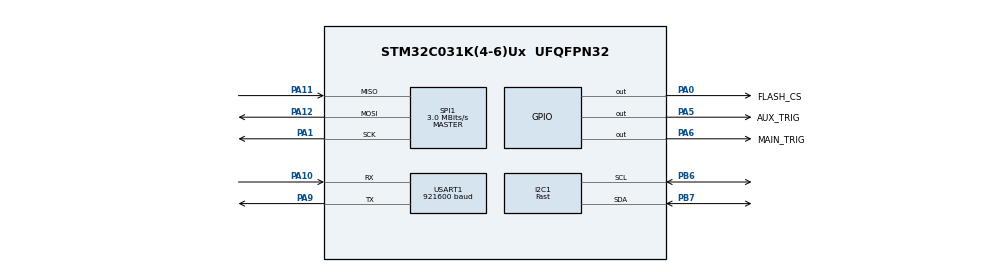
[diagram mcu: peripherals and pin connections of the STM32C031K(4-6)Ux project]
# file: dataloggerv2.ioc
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Dma.Request0=USART1_RX
Dma.Request1=USART1_TX
Dma.USART1_RX.0.Direction=DMA_PERIPH_TO_MEMORY
Dma.USART1_RX.0.EventEnable=DISABLE
Dma.USART1_RX.0.Instance=DMA1_Channel1
Dma.USART1_RX.0.MemDataAlignment=DMA_MDATAALIGN_BYTE
Dma.USART1_RX.0.MemInc=DMA_MINC_ENABLE
Dma.USART1_RX.0.Mode=DMA_CIRCULAR
Dma.USART1_RX.0.PeriphDataAlignment=DMA_PDATAALIGN_BYTE
Dma.USART1_RX.0.PeriphInc=DMA_PINC_DISABLE
Dma.USART1_RX.0.Polarity=HAL_DMAMUX_REQ_GEN_RISING
Dma.USART1_RX.0.Priority=DMA_PRIORITY_LOW
Dma.USART1_RX.0.RequestNumber=1
Dma.USART1_RX.0.SignalID=NONE
Dma.USART1_RX.0.SyncEnable=DISABLE
Dma.USART1_RX.0.SyncPolarity=HAL_DMAMUX_SYNC_NO_EVENT
Dma.USART1_RX.0.SyncRequestNumber=1
Dma.USART1_RX.0.SyncSignalID=NONE
Dma.USART1_TX.1.Direction=DMA_MEMORY_TO_PERIPH
Dma.USART1_TX.1.EventEnable=DISABLE
Dma.USART1_TX.1.Instance=DMA1_Channel2
Dma.USART1_TX.1.MemDataAlignment=DMA_MDATAALIGN_BYTE
Dma.USART1_TX.1.MemInc=DMA_MINC_ENABLE
Dma.USART1_TX.1.Mode=DMA_NORMAL
Dma.USART1_TX.1.PeriphDataAlignment=DMA_PDATAALIGN_BYTE
Dma.USART1_TX.1.PeriphInc=DMA_PINC_DISABLE
Dma.USART1_TX.1.Polarity=HAL_DMAMUX_REQ_GEN_RISING
Dma.USART1_TX.1.Priority=DMA_PRIORITY_LOW
Dma.USART1_TX.1.RequestNumber=1
Dma.USART1_TX.1.SignalID=NONE
Dma.USART1_TX.1.SyncEnable=DISABLE
Dma.USART1_TX.1.SyncPolarity=HAL_DMAMUX_SYNC_NO_EVENT
Dma.USART1_TX.1.SyncRequestNumber=1
Dma.USART1_TX.1.SyncSignalID=NONE
I2C1.I2C_Speed_Mode=I2C_Fast
I2C1.Timing=0x0090194B
Mcu.Family=STM32C0
Mcu.Name=STM32C031K(4-6)Ux
Mcu.Package=UFQFPN32
NVIC.DMA1_Channel1_IRQn=true\:0\:0\:false\:false\:true\:false\:true\:true
NVIC.DMA1_Channel2_3_IRQn=true\:0\:0\:false\:false\:true\:false\:true\:true
NVIC.USART1_IRQn=true\:0\:0\:false\:false\:true\:true\:true\:true
PA0.GPIO_Label=FLASH_CS
PA0.GPIO_Speed=GPIO_SPEED_FREQ_VERY_HIGH
PA0.PinState=GPIO_PIN_SET
PA0.Signal=GPIO_Output
PA1.GPIO_Speed=GPIO_SPEED_FREQ_HIGH
PA1.Mode=Full_Duplex_Master
PA1.Signal=SPI1_SCK
PA10.Mode=Asynchronous
PA10.Signal=USART1_RX
PA11\ [PA9].Mode=Full_Duplex_Master
PA11\ [PA9].Signal=SPI1_MISO
PA12\ [PA10].Mode=Full_Duplex_Master
PA12\ [PA10].Signal=SPI1_MOSI
PA13.Mode=Serial_Wire
PA13.Signal=DEBUG_SWDIO
PA14-BOOT0.Mode=Serial_Wire
PA14-BOOT0.Signal=DEBUG_SWCLK
PA5.GPIO_Label=AUX_TRIG
PA5.GPIO_Speed=GPIO_SPEED_FREQ_MEDIUM
PA5.Signal=GPIO_Output
PA6.GPIO_Label=MAIN_TRIG
PA6.GPIO_Speed=GPIO_SPEED_FREQ_MEDIUM
PA6.Signal=GPIO_Output
PA9.Mode=Asynchronous
PA9.Signal=USART1_TX
PB6.Mode=I2C
PB6.Signal=I2C1_SCL
PB7.Mode=I2C
PB7.Signal=I2C1_SDA
ProjectManager.HeapSize=0x200
ProjectManager.StackSize=0x400
ProjectManager.TargetToolchain=STM32CubeIDE
RCC.ADCFreq_Value=48000000
RCC.AHBFreq_Value=48000000
RCC.CortexFreq_Value=48000000
RCC.EXTERNAL_CLOCK_VALUE=12288000
RCC.HCLKFreq_Value=48000000
RCC.HSE_VALUE=8000000
RCC.HSISYSCLKDivider=RCC_HSI_DIV1
RCC.HSI_VALUE=48000000
RCC.LSE_VALUE=32768
RCC.SYSCLKFreq_VALUE=48000000
SPI1.BaudRatePrescaler=SPI_BAUDRATEPRESCALER_16
SPI1.CalculateBaudRate=3.0 MBits/s
SPI1.Direction=SPI_DIRECTION_2LINES
SPI1.Mode=SPI_MODE_MASTER
SPI1.VirtualType=VM_MASTER
USART1.BaudRate=921600
USART1.VirtualMode-Asynchronous=VM_ASYNC
board=custom

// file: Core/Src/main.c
/* USER CODE BEGIN Header */
/* USER CODE END Header */
#include "main.h"

/* USER CODE BEGIN Includes */
#include "logger.h"
#include "data_structures.h"
#include "bmp388.h"
#include "lsm6dso.h"
#include "mx25l32.h"
#include "base.h"
#include "main_mode.h"
#include "uart_defines.h"
#include "stm32c0xx_ll_i2c.h"
#include <assert.h>
#include <string.h>
/* USER CODE END Includes */

/* USER CODE BEGIN PTD */

static_assert(sizeof(DataFrame_t) == 20, "DataFrame_t size mismatch!");
static_assert(sizeof(FlashPage_t) == 256, "FlashPage_t size mismatch!");
/* USER CODE END PTD */

/* USER CODE BEGIN PD */

#define DELAY_MS_DEBUG 200
#define DELAY_MS_SLOW  40

typedef enum {
    MEAS_MODE_UNDEFINED = 0x00,  // 0000 0000
    MEAS_MODE_OFF       = 0x03,  // 0000 0011
    MEAS_MODE_DEBUG     = 0x0C,  // 0000 1100
    MEAS_MODE_SLOW      = 0x30,  // 0011 0000
    MEAS_MODE_FAST      = 0xC0,   // 1100 0000
    MEAS_MODE_EOE       = 0xFF
} MeasurementMode;

/* USER CODE END PD */

I2C_HandleTypeDef hi2c1;

/* USER CODE BEGIN PV */
static DataFrame_t* currentFrame = NULL;
//static int32_t currentPressure;    //x100
//static int16_t currentTemperature; //x100
//static int16_t rawXYZGyroAndAcc[6]; // gx, gy, gz, ax, ay, az
static BMP388_Calib_t bmp388Calibration;

static const uint8_t MEAS_MODE_ANY_ON = (MEAS_MODE_DEBUG | MEAS_MODE_SLOW | MEAS_MODE_FAST);

volatile MainMode mainMode = MAIN_MODE_INITIAL;
volatile MainMode previousMode = MAIN_MODE_UNDEFINED;
volatile MeasurementMode measurementMode = MEAS_MODE_OFF;
volatile uint16_t currentDelay = DELAY_MS_DEBUG;
FlashPage_t flashPage;
GetNewFrameStatus lastAddNewFrame = GET_NEW_FRAME_UNDEFINED;
volatile uint8_t uartRxBuffer[RX_BUFFER_SIZE];
volatile uint8_t uartRxIndex;
volatile uint8_t bufReadPos = 0;
volatile uint8_t bufWritePos = 0;
uint32_t lastTick = 0;
uint32_t nextPageIndex = 0; // TODO: not written anywhere so far
volatile uint8_t handleUartRxFlag = 0;
volatile uint32_t nextAddressToReadFromFlash = 0;
/* USER CODE END PV */

void SystemClock_Config(void);
static void MX_GPIO_Init(void);
static void MX_DMA_Init(void);
static void MX_USART1_UART_Init(void);
static void MX_SPI1_Init(void);
static void MX_I2C1_Init(void);
/* USER CODE BEGIN PFP */
static void logFrameToUartTxt(DataFrame_t* frame);
static void logPageToUartTxt();
static void logToUartBin();
static void flashToUart();
static void handleUartRx();
static void tryChangingMeasurementMode(MeasurementMode newMode, uint16_t delay);
static void tryPerformingMeasurement();
static void handleFlashReading();
/* USER CODE END PFP */

/* USER CODE BEGIN 0 */
static void logFrameToUartTxt(DataFrame_t* frame)
{
    /********************************* timestamp *********************/
    char timestring[7] = {0};
    uintToAscii(frame->deltaTime, timestring, 6);
    sendStringUart("[");
    sendStringUart(timestring);
    sendStringUart("] ");
    /********************************* LOG ACC + GYR *****************/
    char gxstring[7] = {0};
    char gystring[7] = {0};
    char gzstring[7] = {0};
    char axstring[7] = {0};
    char aystring[7] = {0};
    char azstring[7] = {0};

    intToAscii(frame->gyroAndAcc[0], gxstring, 6);
    intToAscii(frame->gyroAndAcc[1], gystring, 6);
    intToAscii(frame->gyroAndAcc[2], gzstring, 6);
    intToAscii(frame->gyroAndAcc[3], axstring, 6);
    intToAscii(frame->gyroAndAcc[4], aystring, 6);
    intToAscii(frame->gyroAndAcc[5], azstring, 6);

    sendStringUart("G=(");
    sendStringUart(gxstring);
    sendStringUart(", ");
    sendStringUart(gystring);
    sendStringUart(", ");
    sendStringUart(gzstring);
    sendStringUart("), A=(");
    sendStringUart(axstring);
    sendStringUart(", ");
    sendStringUart(aystring);
    sendStringUart(", ");
    sendStringUart(azstring);
    sendStringUart(") ");
    /*********************************** LOG T and P **********/
    char tstring[5] = {0};
    char pstring[9] = {0};
    uintToAscii(frame->temperature, tstring, 4);
    uintToAscii(frame->pressure, pstring, 8);
    sendStringUart("T=");
    sendStringUart(tstring);
    sendStringUart(", P=");
    sendStringUart(pstring);
    sendStringUart("\r\n");
}

static void logPageToUartTxt()
{
    if (lastAddNewFrame != GET_NEW_FRAME_FULL)
    {
        sendStringUart(".");
        return;
    }
    if (SUCCESS != addCrc16(&flashPage))
    {
        return;
    }
    char stringFor8[4] = {0};
    char stringFor32[8] = {0};
    sendStringUart("\r\n***SOP***\r\n");
    uintToAscii(flashPage.header.magicNumber, stringFor32, 7);
    sendStringUart("MN=");
    sendStringUart(stringFor32);
    memset(stringFor32, 0, 8);
    sendStringUart(", TS=");
    uintToAscii(flashPage.header.timestamp, stringFor32, 7);
    sendStringUart(stringFor32);
    memset(stringFor32, 0, 8);
    sendStringUart(", PI=");
    uintToAscii(flashPage.header.pageIndex, stringFor32, 7);
    sendStringUart(stringFor32);
    memset(stringFor32, 0, 8);
    sendStringUart(", NF=");
    uintToAscii(flashPage.header.nextFrameIndex, stringFor32, 7);
    sendStringUart(stringFor32);
    memset(stringFor32, 0, 8);
    sendStringUart(", CRC=");
    uintToAscii(flashPage.header.crc16, stringFor32, 7);
    sendStringUart(stringFor32);
    memset(stringFor32, 0, 8);
    sendStringUart(", DATA:\r\n");

    uintToAscii(flashPage.header.magicNumber, stringFor32, 7);

    for (uint8_t i=0; i < MAX_NUMBER_OF_FRAMES; ++i)
    {
        uintToAscii(i, stringFor8, 3);
        sendStringUart("I=");
        sendStringUart(stringFor8);
        sendStringUart(": ");
        logFrameToUartTxt(&(flashPage.frames[i]));
    }
    sendStringUart("***EOP***\r\n");
}

static void logToUartBin()
{
    if (lastAddNewFrame != GET_NEW_FRAME_FULL)
    {
        return;
    }
    if (0 != flashPage.header.crc16)
    {
        return;
    }
    if (SUCCESS != addCrc16(&flashPage))
    {
        return;
    }
    sendBytesUart((uint8_t*)(&flashPage), sizeof(FlashPage_t));
//    if ()
    /* FOR NOW I DONT NEED DMA THAT MUCH BUT LETS HAVE IT: */
//    if (LL_DMA_IsEnabledChannel(DMA1, LL_DMA_CHANNEL_2) && !LL_DMA_IsActiveFlag_TC2(DMA1)) {
//        return;
//    }
//
//    LL_DMA_DisableChannel(DMA1, LL_DMA_CHANNEL_2);
//    LL_DMA_ClearFlag_TC2(DMA1);
//
//    LL_DMA_ConfigAddresses(DMA1, LL_DMA_CHANNEL_2,
//                           (uint32_t)(&current),
//                           (uint32_t)&(USART1->TDR),
//                           LL_DMA_DIRECTION_MEMORY_TO_PERIPH);
//
//    LL_DMA_SetDataLength(DMA1, LL_DMA_CHANNEL_2, sizeof(DataFrame_t));
//    LL_DMA_EnableChannel(DMA1, LL_DMA_CHANNEL_2);
}

static void flashToUart()
{
    // TODO!
}

void handleUartRx(){
    // MAIN MODE: I=IDLE, T=UART_TXT, B=UART_BIN, S=STORAGE (to flash)
    // COMM:      O=OFF, D=DEBUG, L=SLOW, F=FAST
    // MISC:      A=ACK
    bufWritePos = uartRxIndex;
    char actual[2] = {0};

    while (bufReadPos != bufWritePos){
        actual[0] = uartRxBuffer[bufReadPos++];
    }
    switch (actual[0]){
    case 'I':
        mainMode = MAIN_MODE_IDLE;
        sendStringUart("\r\nMODE=IDLE\r\n");
        break;
    case'T':
        mainMode = MAIN_MODE_UART_TXT;
        sendStringUart("\r\nMODE=UART_TXT\r\n");
        break;
    case'B':
        mainMode = MAIN_MODE_UART_BIN;
        sendStringUart("\r\nMODE=UART_BIN\r\n");
        break;
    case 'S':
        mainMode = MAIN_MODE_STORAGE;
        sendStringUart("\r\nMODE=STORE\r\n");
        break;
    case 'R':
        mainMode = MAIN_MODE_READ_FLASH;
        sendStringUart("\r\nMODE=READ\r\n");
        break;
    case 'O':
        tryChangingMeasurementMode(MEAS_MODE_OFF, DELAY_MS_DEBUG);
        break;
    case 'D':
        tryChangingMeasurementMode(MEAS_MODE_DEBUG, DELAY_MS_DEBUG);
        break;
    case 'L':
        tryChangingMeasurementMode(MEAS_MODE_SLOW, DELAY_MS_SLOW);
        break;
    case 'F':
        // TODO: currentDelay = DELAY_MS_FAST, but dunno what's that yet
        tryChangingMeasurementMode(MEAS_MODE_FAST, DELAY_MS_SLOW);
        break;
    default:
        __NOP();
    }
    if (mainMode == MAIN_MODE_COMMUNICATION)
    {
        mainMode = previousMode;
    }
}

void tryChangingMeasurementMode(MeasurementMode newMode, uint16_t delay)
{
    do {
        if (((measurementMode & MEAS_MODE_ANY_ON) == 0) &&
            ((newMode & MEAS_MODE_ANY_ON) != 0))
        {
            lastTick = uwTick;
            if (startNewPage(uwTick, nextPageIndex++, &flashPage) != SUCCESS)
            {
                mainMode = MAIN_MODE_ERROR;
                measurementMode = MEAS_MODE_OFF;
                break;
            }
        }
        measurementMode = newMode;
        currentDelay = delay;
        char modeStr[3] = {0};
        uintToAscii(newMode, modeStr, 2);
        sendStringUart("\r\nMEAS=");
        sendStringUart(modeStr);
        sendStringUart("\r\n");
    } while(0);
}

static void tryPerformingMeasurement()
{
    do{
        if (lastAddNewFrame == GET_NEW_FRAME_FULL)
        {
            lastTick = uwTick;
            if (startNewPage(lastTick, nextPageIndex++, &flashPage) != SUCCESS)
            {
                mainMode = MAIN_MODE_ERROR;
                break;
            }
        }
        lastAddNewFrame = addNewFrame(&flashPage, uwTick, &currentFrame);
        if (lastAddNewFrame == GET_NEW_FRAME_ERROR)
        {
            mainMode = MAIN_MODE_ERROR;
            break;
        }
        else
        {
            bmp388Measure(&bmp388Calibration, &(currentFrame->pressure), &(currentFrame->temperature));
            lsm6dsoMeasure(currentFrame->gyroAndAcc);
        }
    } while(0);
}

static void handleFlashReading()
{
    measurementMode = MEAS_MODE_OFF;
//    // TODO: read from actual flash. Now just send some rubbish:
    FlashPage_t readPage;
    for (uint8_t i = 0; i < 10; ++i)
    {
        startNewPage(uwTick, i, &readPage);
        sendBytesUart((void*)&readPage, sizeof(FlashPage_t));
    }
    mainMode = MAIN_MODE_IDLE;
}

/* USER CODE END 0 */

int main(void)
{

  /* MCU Configuration--------------------------------------------------------*/

  /* Reset of all peripherals, Initializes the Flash interface and the Systick. */
  HAL_Init();

  /* Configure the system clock */
  SystemClock_Config();

  /* Initialize all configured peripherals */
  MX_GPIO_Init();
  MX_DMA_Init();
  LL_mDelay(10);
  MX_USART1_UART_Init();
  MX_SPI1_Init();
  MX_I2C1_Init();
  /* USER CODE BEGIN 2 */

  /***************** BEGIN DMA UART  */
  LL_DMA_ConfigAddresses(DMA1, LL_DMA_CHANNEL_1,
//                         LL_USART_DMA_GetRegAddr(USART1, LL_USART_DMA_REG_DATA_RECEIVE),
                         (uint32_t)(&(USART1->RDR)),
                         (uint32_t)uartRxBuffer,
                         LL_DMA_GetDataTransferDirection(DMA1, LL_DMA_CHANNEL_1));

  LL_DMA_SetDataLength(DMA1, LL_DMA_CHANNEL_1, RX_BUFFER_SIZE);
  LL_USART_EnableDMAReq_RX(USART1);
  LL_USART_ClearFlag_IDLE(USART1);
  LL_USART_EnableIT_IDLE(USART1);
  LL_DMA_EnableChannel(DMA1, LL_DMA_CHANNEL_1);

  // Second channel for TX:
  LL_DMA_SetPeriphAddress(DMA1, LL_DMA_CHANNEL_2, (uint32_t)&(USART1->TDR));
  LL_USART_EnableDMAReq_TX(USART1);
  /***************** END DMA UART */

  LL_mDelay(10);
  sendStringUart("Config done, initializing devices...\r\n");
  if (MAIN_MODE_INITIAL == mainMode && SUCCESS != bmp388Init(&bmp388Calibration))
  {
      mainMode = MAIN_MODE_ERROR;
      sendStringUart("BMP388 failed!\r\n");
  }
  if (MAIN_MODE_INITIAL == mainMode && SUCCESS != lsm6dsoInit())
  {
      mainMode = MAIN_MODE_ERROR;
      sendStringUart("LSM failed!\r\n");
  }
  if (MAIN_MODE_INITIAL == mainMode && SUCCESS != mx25l32Init())
  {
      mainMode = MAIN_MODE_ERROR;
      sendStringUart("MX25 failed!\r\n");
  }
  mainMode = MAIN_MODE_IDLE;
  sendStringUart("Devices initialized, running main loop...\r\n");
  LL_mDelay(10);
  /* USER CODE END 2 */

  /* Infinite loop */
  /* USER CODE BEGIN WHILE */
  while(1)
  {
      if (mainMode == MAIN_MODE_ERROR)
      {
          __disable_irq();
          while(1){ __WFI(); };
      }
      else if (mainMode == MAIN_MODE_IDLE)
      {
          __disable_irq();
           if (mainMode == MAIN_MODE_IDLE)
           {
               __WFI();
           }
           __enable_irq();
      }
      else if (mainMode == MAIN_MODE_UART_TXT)
      {
          logPageToUartTxt();
      }
      else if (mainMode == MAIN_MODE_UART_BIN)
      {
          logToUartBin();
      }
      else if (mainMode == MAIN_MODE_READ_FLASH)
      {
          handleFlashReading();
      }
      else if (mainMode == MAIN_MODE_COMMUNICATION)
      {
          handleUartRx();
      }
      if ((measurementMode & MEAS_MODE_ANY_ON) != 0)
      {
          tryPerformingMeasurement();
      }
      LL_mDelay(currentDelay);
  }  // end of main loop
    /* USER CODE END WHILE */

}

void SystemClock_Config(void)
{

  LL_FLASH_SetLatency(LL_FLASH_LATENCY_1);

  /* HSI configuration and activation */
  LL_RCC_HSI_Enable();
  while(LL_RCC_HSI_IsReady() != 1)
  {
  }

  LL_RCC_HSI_SetCalibTrimming(64);
  LL_RCC_SetHSIDiv(LL_RCC_HSI_DIV_1);
  /* Set AHB prescaler*/
  LL_RCC_SetAHBPrescaler(LL_RCC_HCLK_DIV_1);

  /* Sysclk activation on the HSI */
  LL_RCC_SetSysClkSource(LL_RCC_SYS_CLKSOURCE_HSI);
  while(LL_RCC_GetSysClkSource() != LL_RCC_SYS_CLKSOURCE_STATUS_HSI)
  {
  }

  /* Set APB1 prescaler*/
  LL_RCC_SetAPB1Prescaler(LL_RCC_APB1_DIV_1);
  /* Update CMSIS variable (which can be updated also through SystemCoreClockUpdate function) */
  LL_SetSystemCoreClock(48000000);

   /* Update the time base */
  if (HAL_InitTick (TICK_INT_PRIORITY) != HAL_OK)
  {
    Error_Handler();
  }
}

static void MX_I2C1_Init(void)
{

  hi2c1.Instance = I2C1;
  hi2c1.Init.Timing = 0x0090194B;
  hi2c1.Init.OwnAddress1 = 0;
  hi2c1.Init.AddressingMode = I2C_ADDRESSINGMODE_7BIT;
  hi2c1.Init.DualAddressMode = I2C_DUALADDRESS_DISABLE;
  hi2c1.Init.OwnAddress2 = 0;
  hi2c1.Init.OwnAddress2Masks = I2C_OA2_NOMASK;
  hi2c1.Init.GeneralCallMode = I2C_GENERALCALL_DISABLE;
  hi2c1.Init.NoStretchMode = I2C_NOSTRETCH_DISABLE;
  if (HAL_I2C_Init(&hi2c1) != HAL_OK)
  {
    Error_Handler();
  }

  /** Configure Analogue filter
  */
  if (HAL_I2CEx_ConfigAnalogFilter(&hi2c1, I2C_ANALOGFILTER_ENABLE) != HAL_OK)
  {
    Error_Handler();
  }

  /** Configure Digital filter
  */
  if (HAL_I2CEx_ConfigDigitalFilter(&hi2c1, 0) != HAL_OK)
  {
    Error_Handler();
  }

}

static void MX_SPI1_Init(void)
{

  LL_SPI_InitTypeDef SPI_InitStruct = {0};

  LL_GPIO_InitTypeDef GPIO_InitStruct = {0};

  LL_RCC_SetI2SClockSource(LL_RCC_I2S1_CLKSOURCE_SYSCLK);

  /* Peripheral clock enable */
  LL_APB2_GRP1_EnableClock(LL_APB2_GRP1_PERIPH_SPI1);

  LL_IOP_GRP1_EnableClock(LL_IOP_GRP1_PERIPH_GPIOA);
  /**SPI1 GPIO Configuration
  PA1   ------> SPI1_SCK
  PA11 [PA9]   ------> SPI1_MISO
  PA12 [PA10]   ------> SPI1_MOSI
  */
  GPIO_InitStruct.Pin = LL_GPIO_PIN_1;
  GPIO_InitStruct.Mode = LL_GPIO_MODE_ALTERNATE;
  GPIO_InitStruct.Speed = LL_GPIO_SPEED_FREQ_HIGH;
  GPIO_InitStruct.OutputType = LL_GPIO_OUTPUT_PUSHPULL;
  GPIO_InitStruct.Pull = LL_GPIO_PULL_NO;
  GPIO_InitStruct.Alternate = LL_GPIO_AF_0;
  LL_GPIO_Init(GPIOA, &GPIO_InitStruct);

  GPIO_InitStruct.Pin = LL_GPIO_PIN_11;
  GPIO_InitStruct.Mode = LL_GPIO_MODE_ALTERNATE;
  GPIO_InitStruct.Speed = LL_GPIO_SPEED_FREQ_LOW;
  GPIO_InitStruct.OutputType = LL_GPIO_OUTPUT_PUSHPULL;
  GPIO_InitStruct.Pull = LL_GPIO_PULL_NO;
  GPIO_InitStruct.Alternate = LL_GPIO_AF_0;
  LL_GPIO_Init(GPIOA, &GPIO_InitStruct);

  GPIO_InitStruct.Pin = LL_GPIO_PIN_12;
  GPIO_InitStruct.Mode = LL_GPIO_MODE_ALTERNATE;
  GPIO_InitStruct.Speed = LL_GPIO_SPEED_FREQ_LOW;
  GPIO_InitStruct.OutputType = LL_GPIO_OUTPUT_PUSHPULL;
  GPIO_InitStruct.Pull = LL_GPIO_PULL_NO;
  GPIO_InitStruct.Alternate = LL_GPIO_AF_0;
  LL_GPIO_Init(GPIOA, &GPIO_InitStruct);

  /* SPI1 parameter configuration*/
  SPI_InitStruct.TransferDirection = LL_SPI_FULL_DUPLEX;
  SPI_InitStruct.Mode = LL_SPI_MODE_MASTER;
  SPI_InitStruct.DataWidth = LL_SPI_DATAWIDTH_8BIT;
  SPI_InitStruct.ClockPolarity = LL_SPI_POLARITY_LOW;
  SPI_InitStruct.ClockPhase = LL_SPI_PHASE_1EDGE;
  SPI_InitStruct.NSS = LL_SPI_NSS_SOFT;
  SPI_InitStruct.BaudRate = LL_SPI_BAUDRATEPRESCALER_DIV16;
  SPI_InitStruct.BitOrder = LL_SPI_MSB_FIRST;
  SPI_InitStruct.CRCCalculation = LL_SPI_CRCCALCULATION_DISABLE;
  SPI_InitStruct.CRCPoly = 7;
  LL_SPI_Init(SPI1, &SPI_InitStruct);
  LL_SPI_SetStandard(SPI1, LL_SPI_PROTOCOL_MOTOROLA);
  LL_SPI_EnableNSSPulseMgt(SPI1);
  /* USER CODE BEGIN SPI1_Init 2 */
  LL_SPI_SetRxFIFOThreshold(SPI1, LL_SPI_RX_FIFO_TH_QUARTER);
  LL_SPI_Enable(SPI1);
  /* USER CODE END SPI1_Init 2 */

}

static void MX_USART1_UART_Init(void)
{

  LL_USART_InitTypeDef USART_InitStruct = {0};

  LL_GPIO_InitTypeDef GPIO_InitStruct = {0};

  LL_RCC_SetUSARTClockSource(LL_RCC_USART1_CLKSOURCE_PCLK1);

  /* Peripheral clock enable */
  LL_APB2_GRP1_EnableClock(LL_APB2_GRP1_PERIPH_USART1);

  LL_IOP_GRP1_EnableClock(LL_IOP_GRP1_PERIPH_GPIOA);
  /**USART1 GPIO Configuration
  PA9   ------> USART1_TX
  PA10   ------> USART1_RX
  */
  GPIO_InitStruct.Pin = LL_GPIO_PIN_9;
  GPIO_InitStruct.Mode = LL_GPIO_MODE_ALTERNATE;
  GPIO_InitStruct.Speed = LL_GPIO_SPEED_FREQ_LOW;
  GPIO_InitStruct.OutputType = LL_GPIO_OUTPUT_PUSHPULL;
  GPIO_InitStruct.Pull = LL_GPIO_PULL_NO;
  GPIO_InitStruct.Alternate = LL_GPIO_AF_1;
  LL_GPIO_Init(GPIOA, &GPIO_InitStruct);

  GPIO_InitStruct.Pin = LL_GPIO_PIN_10;
  GPIO_InitStruct.Mode = LL_GPIO_MODE_ALTERNATE;
  GPIO_InitStruct.Speed = LL_GPIO_SPEED_FREQ_LOW;
  GPIO_InitStruct.OutputType = LL_GPIO_OUTPUT_PUSHPULL;
  GPIO_InitStruct.Pull = LL_GPIO_PULL_NO;
  GPIO_InitStruct.Alternate = LL_GPIO_AF_1;
  LL_GPIO_Init(GPIOA, &GPIO_InitStruct);

  /* USART1 DMA Init */

  /* USART1_RX Init */
  LL_DMA_SetPeriphRequest(DMA1, LL_DMA_CHANNEL_1, LL_DMAMUX_REQ_USART1_RX);

  LL_DMA_SetDataTransferDirection(DMA1, LL_DMA_CHANNEL_1, LL_DMA_DIRECTION_PERIPH_TO_MEMORY);

  LL_DMA_SetChannelPriorityLevel(DMA1, LL_DMA_CHANNEL_1, LL_DMA_PRIORITY_LOW);

  LL_DMA_SetMode(DMA1, LL_DMA_CHANNEL_1, LL_DMA_MODE_CIRCULAR);

  LL_DMA_SetPeriphIncMode(DMA1, LL_DMA_CHANNEL_1, LL_DMA_PERIPH_NOINCREMENT);

  LL_DMA_SetMemoryIncMode(DMA1, LL_DMA_CHANNEL_1, LL_DMA_MEMORY_INCREMENT);

  LL_DMA_SetPeriphSize(DMA1, LL_DMA_CHANNEL_1, LL_DMA_PDATAALIGN_BYTE);

  LL_DMA_SetMemorySize(DMA1, LL_DMA_CHANNEL_1, LL_DMA_MDATAALIGN_BYTE);

  /* USART1_TX Init */
  LL_DMA_SetPeriphRequest(DMA1, LL_DMA_CHANNEL_2, LL_DMAMUX_REQ_USART1_TX);

  LL_DMA_SetDataTransferDirection(DMA1, LL_DMA_CHANNEL_2, LL_DMA_DIRECTION_MEMORY_TO_PERIPH);

  LL_DMA_SetChannelPriorityLevel(DMA1, LL_DMA_CHANNEL_2, LL_DMA_PRIORITY_LOW);

  LL_DMA_SetMode(DMA1, LL_DMA_CHANNEL_2, LL_DMA_MODE_NORMAL);

  LL_DMA_SetPeriphIncMode(DMA1, LL_DMA_CHANNEL_2, LL_DMA_PERIPH_NOINCREMENT);

  LL_DMA_SetMemoryIncMode(DMA1, LL_DMA_CHANNEL_2, LL_DMA_MEMORY_INCREMENT);

  LL_DMA_SetPeriphSize(DMA1, LL_DMA_CHANNEL_2, LL_DMA_PDATAALIGN_BYTE);

  LL_DMA_SetMemorySize(DMA1, LL_DMA_CHANNEL_2, LL_DMA_MDATAALIGN_BYTE);

  /* USART1 interrupt Init */
  NVIC_SetPriority(USART1_IRQn, 0);
  NVIC_EnableIRQ(USART1_IRQn);

  USART_InitStruct.PrescalerValue = LL_USART_PRESCALER_DIV1;
  USART_InitStruct.BaudRate = 921600;
  USART_InitStruct.DataWidth = LL_USART_DATAWIDTH_8B;
  USART_InitStruct.StopBits = LL_USART_STOPBITS_1;
  USART_InitStruct.Parity = LL_USART_PARITY_NONE;
  USART_InitStruct.TransferDirection = LL_USART_DIRECTION_TX_RX;
  USART_InitStruct.HardwareFlowControl = LL_USART_HWCONTROL_NONE;
  USART_InitStruct.OverSampling = LL_USART_OVERSAMPLING_16;
  LL_USART_Init(USART1, &USART_InitStruct);
  LL_USART_SetTXFIFOThreshold(USART1, LL_USART_FIFOTHRESHOLD_1_8);
  LL_USART_SetRXFIFOThreshold(USART1, LL_USART_FIFOTHRESHOLD_1_8);
  LL_USART_DisableFIFO(USART1);
  LL_USART_ConfigAsyncMode(USART1);

  LL_USART_Enable(USART1);

  /* Polling USART1 initialisation */
  while((!(LL_USART_IsActiveFlag_TEACK(USART1))) || (!(LL_USART_IsActiveFlag_REACK(USART1))))
  {
  }

}

static void MX_DMA_Init(void)
{

  /* Init with LL driver */
  /* DMA controller clock enable */
  LL_AHB1_GRP1_EnableClock(LL_AHB1_GRP1_PERIPH_DMA1);

  /* DMA interrupt init */
  /* DMA1_Channel1_IRQn interrupt configuration */
  NVIC_SetPriority(DMA1_Channel1_IRQn, 0);
  NVIC_EnableIRQ(DMA1_Channel1_IRQn);
  /* DMA1_Channel2_3_IRQn interrupt configuration */
  NVIC_SetPriority(DMA1_Channel2_3_IRQn, 0);
  NVIC_EnableIRQ(DMA1_Channel2_3_IRQn);

}

static void MX_GPIO_Init(void)
{
  LL_GPIO_InitTypeDef GPIO_InitStruct = {0};

  /* GPIO Ports Clock Enable */
  LL_IOP_GRP1_EnableClock(LL_IOP_GRP1_PERIPH_GPIOA);
  LL_IOP_GRP1_EnableClock(LL_IOP_GRP1_PERIPH_GPIOB);

  /**/
  LL_GPIO_SetOutputPin(FLASH_CS_GPIO_Port, FLASH_CS_Pin);

  /**/
  LL_GPIO_ResetOutputPin(AUX_TRIG_GPIO_Port, AUX_TRIG_Pin);

  /**/
  LL_GPIO_ResetOutputPin(MAIN_TRIG_GPIO_Port, MAIN_TRIG_Pin);

  /**/
  GPIO_InitStruct.Pin = FLASH_CS_Pin;
  GPIO_InitStruct.Mode = LL_GPIO_MODE_OUTPUT;
  GPIO_InitStruct.Speed = LL_GPIO_SPEED_FREQ_VERY_HIGH;
  GPIO_InitStruct.OutputType = LL_GPIO_OUTPUT_PUSHPULL;
  GPIO_InitStruct.Pull = LL_GPIO_PULL_NO;
  LL_GPIO_Init(FLASH_CS_GPIO_Port, &GPIO_InitStruct);

  /**/
  GPIO_InitStruct.Pin = AUX_TRIG_Pin;
  GPIO_InitStruct.Mode = LL_GPIO_MODE_OUTPUT;
  GPIO_InitStruct.Speed = LL_GPIO_SPEED_FREQ_MEDIUM;
  GPIO_InitStruct.OutputType = LL_GPIO_OUTPUT_PUSHPULL;
  GPIO_InitStruct.Pull = LL_GPIO_PULL_NO;
  LL_GPIO_Init(AUX_TRIG_GPIO_Port, &GPIO_InitStruct);

  /**/
  GPIO_InitStruct.Pin = MAIN_TRIG_Pin;
  GPIO_InitStruct.Mode = LL_GPIO_MODE_OUTPUT;
  GPIO_InitStruct.Speed = LL_GPIO_SPEED_FREQ_MEDIUM;
  GPIO_InitStruct.OutputType = LL_GPIO_OUTPUT_PUSHPULL;
  GPIO_InitStruct.Pull = LL_GPIO_PULL_NO;
  LL_GPIO_Init(MAIN_TRIG_GPIO_Port, &GPIO_InitStruct);

}

void Error_Handler(void)
{
}
